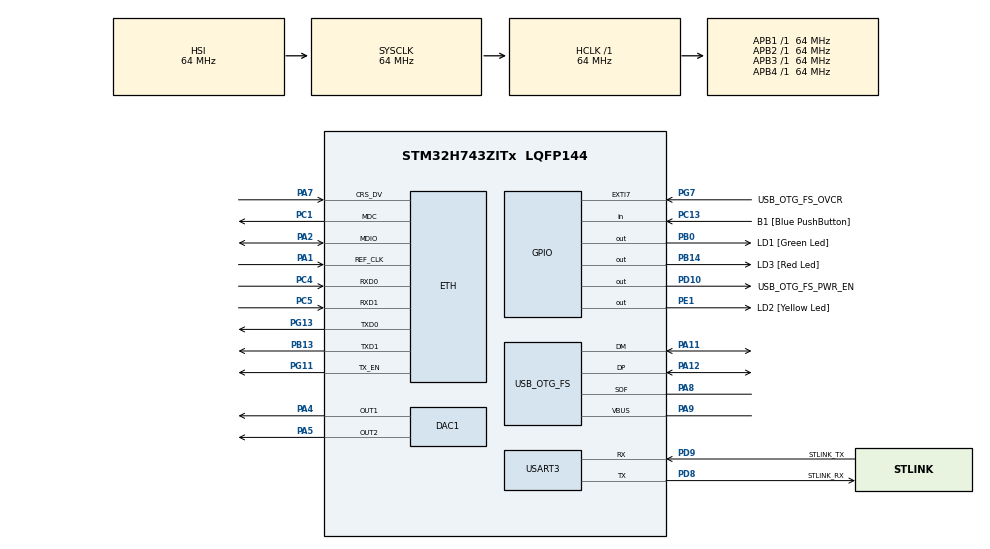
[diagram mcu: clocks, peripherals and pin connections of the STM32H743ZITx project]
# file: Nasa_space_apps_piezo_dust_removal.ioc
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DAC1.DAC_Channel-DAC_OUT1=DAC_CHANNEL_1
DAC1.DAC_Channel-DAC_OUT2=DAC_CHANNEL_2
DAC1.DAC_SampleAndHold-DAC_OUT1=DAC_SAMPLEANDHOLD_DISABLE
DAC1.DAC_SampleAndHold-DAC_OUT2=DAC_SAMPLEANDHOLD_DISABLE
ETH.MediaInterface=HAL_ETH_RMII_MODE
FREERTOS.Tasks01=defaultTask,24,128,StartDefaultTask,Default,NULL,Dynamic,NULL,NULL;blinkTask,40,128,StartBlinkTask,Default,NULL,Dynamic,NULL,NULL
FREERTOS.configENABLE_FPU=1
FREERTOS.configUSE_NEWLIB_REENTRANT=1
Mcu.Family=STM32H7
Mcu.Name=STM32H743ZITx
Mcu.Package=LQFP144
NVIC.PriorityGroup=NVIC_PRIORITYGROUP_4
NVIC.TIM17_IRQn=true\:15\:0\:false\:false\:true\:false\:false\:true\:true
NVIC.TimeBase=TIM17_IRQn
NVIC.TimeBaseIP=TIM17
PA1.Mode=RMII
PA1.Signal=ETH_REF_CLK
PA11.Mode=Device_Only
PA11.Signal=USB_OTG_FS_DM
PA12.Mode=Device_Only
PA12.Signal=USB_OTG_FS_DP
PA2.Mode=RMII
PA2.Signal=ETH_MDIO
PA4.Signal=COMP_DAC11_group
PA5.Signal=COMP_DAC12_group
PA7.Mode=RMII
PA7.Signal=ETH_CRS_DV
PA8.Mode=Activate_SOF_FS
PA8.Signal=USB_OTG_FS_SOF
PA9.Mode=Activate_VBUS
PA9.Signal=USB_OTG_FS_VBUS
PB0.GPIO_Label=LD1 [Green Led]
PB0.Signal=GPIO_Output
PB13.Mode=RMII
PB13.Signal=ETH_TXD1
PB14.GPIO_Label=LD3 [Red Led]
PB14.Signal=GPIO_Output
PC1.Mode=RMII
PC1.Signal=ETH_MDC
PC13.GPIO_Label=B1 [Blue PushButton]
PC13.Signal=GPIO_Input
PC14-OSC32_IN\ (OSC32_IN).Mode=LSE-External-Oscillator
PC14-OSC32_IN\ (OSC32_IN).Signal=RCC_OSC32_IN
PC15-OSC32_OUT\ (OSC32_OUT).Mode=LSE-External-Oscillator
PC15-OSC32_OUT\ (OSC32_OUT).Signal=RCC_OSC32_OUT
PC4.Mode=RMII
PC4.Signal=ETH_RXD0
PC5.Mode=RMII
PC5.Signal=ETH_RXD1
PD10.GPIO_Label=USB_OTG_FS_PWR_EN
PD10.Signal=GPIO_Output
PD8.GPIO_Label=STLINK_RX
PD8.Mode=Asynchronous
PD8.Signal=USART3_TX
PD9.GPIO_Label=STLINK_TX
PD9.Mode=Asynchronous
PD9.Signal=USART3_RX
PE1.GPIO_Label=LD2 [Yellow Led]
PE1.Signal=GPIO_Output
PG11.Mode=RMII
PG11.Signal=ETH_TX_EN
PG13.Mode=RMII
PG13.Signal=ETH_TXD0
PG7.GPIO_Label=USB_OTG_FS_OVCR
PG7.Signal=GPXTI7
PH0-OSC_IN\ (PH0).Mode=HSE-External-Clock-Source
PH0-OSC_IN\ (PH0).Signal=RCC_OSC_IN
PH1-OSC_OUT\ (PH1).Signal=RCC_OSC_OUT
ProjectManager.HeapSize=0x200
ProjectManager.StackSize=0x400
ProjectManager.TargetToolchain=STM32CubeIDE
RCC.ADCFreq_Value=16125000
RCC.APB1Freq_Value=64000000
RCC.APB2Freq_Value=64000000
RCC.APB3Freq_Value=64000000
RCC.APB4Freq_Value=64000000
RCC.CortexFreq_Value=64000000
RCC.DIVM1=1
RCC.DIVN1=24
RCC.DIVQ1=4
RCC.HCLKFreq_Value=64000000
RCC.HSE_VALUE=8000000
RCC.PLLFRACN=0
RCC.PWR_Regulator_Voltage_Scale=PWR_REGULATOR_VOLTAGE_SCALE2
RCC.SYSCLKFreq_VALUE=64000000
RCC.USBFreq_Value=48000000
SH.COMP_DAC11_group.0=DAC1_OUT1,DAC_OUT1
SH.COMP_DAC12_group.0=DAC1_OUT2,DAC_OUT2
USART3.VirtualMode-Asynchronous=VM_ASYNC
USB_OTG_FS.VirtualMode=Device_Only
VP_FREERTOS_VS_CMSIS_V2.Mode=CMSIS_V2
VP_MEMORYMAP_VS_MEMORYMAP.Mode=CurAppReg
VP_SYS_VS_tim17.Mode=TIM17
board=NUCLEO-H743ZI2

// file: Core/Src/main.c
/* USER CODE BEGIN Header */
/**
  ******************************************************************************
  * @file           : main.c
  * @brief          : Main program body
  ******************************************************************************
  * @attention
  *
  * Copyright (c) 2024 STMicroelectronics.
  * All rights reserved.
  *
  * This software is licensed under terms that can be found in the LICENSE file
  * in the root directory of this software component.
  * If no LICENSE file comes with this software, it is provided AS-IS.
  *
  ******************************************************************************
  */
/* USER CODE END Header */
#include "main.h"
#include "string.h"
#include "cmsis_os.h"

/* USER CODE BEGIN Includes */

#include "math.h"

/* USER CODE END Includes */

/* USER CODE BEGIN PD */
#define NBR_OF_SAMPLES 200
/* USER CODE END PD */

#if defined ( __ICCARM__ ) /*!< IAR Compiler */
#pragma location=0x30000000
ETH_DMADescTypeDef  DMARxDscrTab[ETH_RX_DESC_CNT]; /* Ethernet Rx DMA Descriptors */
#pragma location=0x30000080
ETH_DMADescTypeDef  DMATxDscrTab[ETH_TX_DESC_CNT]; /* Ethernet Tx DMA Descriptors */

#elif defined ( __CC_ARM )  /* MDK ARM Compiler */

__attribute__((at(0x30000000))) ETH_DMADescTypeDef  DMARxDscrTab[ETH_RX_DESC_CNT]; /* Ethernet Rx DMA Descriptors */
__attribute__((at(0x30000080))) ETH_DMADescTypeDef  DMATxDscrTab[ETH_TX_DESC_CNT]; /* Ethernet Tx DMA Descriptors */

#elif defined ( __GNUC__ ) /* GNU Compiler */

ETH_DMADescTypeDef DMARxDscrTab[ETH_RX_DESC_CNT] __attribute__((section(".RxDecripSection"))); /* Ethernet Rx DMA Descriptors */
ETH_DMADescTypeDef DMATxDscrTab[ETH_TX_DESC_CNT] __attribute__((section(".TxDecripSection")));   /* Ethernet Tx DMA Descriptors */
#endif

ETH_TxPacketConfig TxConfig;

DAC_HandleTypeDef hdac1;

ETH_HandleTypeDef heth;

UART_HandleTypeDef huart3;

PCD_HandleTypeDef hpcd_USB_OTG_FS;

/* Definitions for defaultTask */
osThreadId_t defaultTaskHandle;
const osThreadAttr_t defaultTask_attributes = {
  .name = "defaultTask",
  .stack_size = 128 * 4,
  .priority = (osPriority_t) osPriorityNormal,
};
/* Definitions for blinkTask */
osThreadId_t blinkTaskHandle;
const osThreadAttr_t blinkTask_attributes = {
  .name = "blinkTask",
  .stack_size = 128 * 4,
  .priority = (osPriority_t) osPriorityHigh,
};

void SystemClock_Config(void);
static void MX_GPIO_Init(void);
static void MX_ETH_Init(void);
static void MX_USART3_UART_Init(void);
static void MX_USB_OTG_FS_PCD_Init(void);
static void MX_DAC1_Init(void);
void StartDefaultTask(void *argument);
void StartBlinkTask(void *argument);

int main(void)
{

  /* MCU Configuration--------------------------------------------------------*/

  /* Reset of all peripherals, Initializes the Flash interface and the Systick. */
  HAL_Init();

  /* Configure the system clock */
  SystemClock_Config();

  /* Initialize all configured peripherals */
  MX_GPIO_Init();
  MX_ETH_Init();
  MX_USART3_UART_Init();
  MX_USB_OTG_FS_PCD_Init();
  MX_DAC1_Init();

  /* Init scheduler */
  osKernelInitialize();

  /* Create the thread(s) */
  /* creation of defaultTask */
  defaultTaskHandle = osThreadNew(StartDefaultTask, NULL, &defaultTask_attributes);

  /* creation of blinkTask */
  blinkTaskHandle = osThreadNew(StartBlinkTask, NULL, &blinkTask_attributes);

  /* Start scheduler */
  osKernelStart();

  /* We should never get here as control is now taken by the scheduler */

  /* Infinite loop */
  while (1)
  {

  }
}

void SystemClock_Config(void)
{
  RCC_OscInitTypeDef RCC_OscInitStruct = {0};
  RCC_ClkInitTypeDef RCC_ClkInitStruct = {0};

  /** Supply configuration update enable
  */
  HAL_PWREx_ConfigSupply(PWR_LDO_SUPPLY);

  /** Configure the main internal regulator output voltage
  */
  __HAL_PWR_VOLTAGESCALING_CONFIG(PWR_REGULATOR_VOLTAGE_SCALE2);

  while(!__HAL_PWR_GET_FLAG(PWR_FLAG_VOSRDY)) {}

  /** Initializes the RCC Oscillators according to the specified parameters
  * in the RCC_OscInitTypeDef structure.
  */
  RCC_OscInitStruct.OscillatorType = RCC_OSCILLATORTYPE_HSI|RCC_OSCILLATORTYPE_HSE;
  RCC_OscInitStruct.HSEState = RCC_HSE_BYPASS;
  RCC_OscInitStruct.HSIState = RCC_HSI_DIV1;
  RCC_OscInitStruct.HSICalibrationValue = RCC_HSICALIBRATION_DEFAULT;
  RCC_OscInitStruct.PLL.PLLState = RCC_PLL_ON;
  RCC_OscInitStruct.PLL.PLLSource = RCC_PLLSOURCE_HSE;
  RCC_OscInitStruct.PLL.PLLM = 1;
  RCC_OscInitStruct.PLL.PLLN = 24;
  RCC_OscInitStruct.PLL.PLLP = 2;
  RCC_OscInitStruct.PLL.PLLQ = 4;
  RCC_OscInitStruct.PLL.PLLR = 2;
  RCC_OscInitStruct.PLL.PLLRGE = RCC_PLL1VCIRANGE_3;
  RCC_OscInitStruct.PLL.PLLVCOSEL = RCC_PLL1VCOWIDE;
  RCC_OscInitStruct.PLL.PLLFRACN = 0;
  if (HAL_RCC_OscConfig(&RCC_OscInitStruct) != HAL_OK)
  {
    Error_Handler();
  }

  /** Initializes the CPU, AHB and APB buses clocks
  */
  RCC_ClkInitStruct.ClockType = RCC_CLOCKTYPE_HCLK|RCC_CLOCKTYPE_SYSCLK
                              |RCC_CLOCKTYPE_PCLK1|RCC_CLOCKTYPE_PCLK2
                              |RCC_CLOCKTYPE_D3PCLK1|RCC_CLOCKTYPE_D1PCLK1;
  RCC_ClkInitStruct.SYSCLKSource = RCC_SYSCLKSOURCE_HSI;
  RCC_ClkInitStruct.SYSCLKDivider = RCC_SYSCLK_DIV1;
  RCC_ClkInitStruct.AHBCLKDivider = RCC_HCLK_DIV1;
  RCC_ClkInitStruct.APB3CLKDivider = RCC_APB3_DIV1;
  RCC_ClkInitStruct.APB1CLKDivider = RCC_APB1_DIV1;
  RCC_ClkInitStruct.APB2CLKDivider = RCC_APB2_DIV1;
  RCC_ClkInitStruct.APB4CLKDivider = RCC_APB4_DIV1;

  if (HAL_RCC_ClockConfig(&RCC_ClkInitStruct, FLASH_LATENCY_1) != HAL_OK)
  {
    Error_Handler();
  }
}

static void MX_DAC1_Init(void)
{

  DAC_ChannelConfTypeDef sConfig = {0};

  /** DAC Initialization
  */
  hdac1.Instance = DAC1;
  if (HAL_DAC_Init(&hdac1) != HAL_OK)
  {
    Error_Handler();
  }

  /** DAC channel OUT1 config
  */
  sConfig.DAC_SampleAndHold = DAC_SAMPLEANDHOLD_DISABLE;
  sConfig.DAC_Trigger = DAC_TRIGGER_NONE;
  sConfig.DAC_OutputBuffer = DAC_OUTPUTBUFFER_ENABLE;
  sConfig.DAC_ConnectOnChipPeripheral = DAC_CHIPCONNECT_DISABLE;
  sConfig.DAC_UserTrimming = DAC_TRIMMING_FACTORY;
  if (HAL_DAC_ConfigChannel(&hdac1, &sConfig, DAC_CHANNEL_1) != HAL_OK)
  {
    Error_Handler();
  }

  /** DAC channel OUT2 config
  */
  if (HAL_DAC_ConfigChannel(&hdac1, &sConfig, DAC_CHANNEL_2) != HAL_OK)
  {
    Error_Handler();
  }

}

static void MX_ETH_Init(void)
{

   static uint8_t MACAddr[6];

  heth.Instance = ETH;
  MACAddr[0] = 0x00;
  MACAddr[1] = 0x80;
  MACAddr[2] = 0xE1;
  MACAddr[3] = 0x00;
  MACAddr[4] = 0x00;
  MACAddr[5] = 0x00;
  heth.Init.MACAddr = &MACAddr[0];
  heth.Init.MediaInterface = HAL_ETH_RMII_MODE;
  heth.Init.TxDesc = DMATxDscrTab;
  heth.Init.RxDesc = DMARxDscrTab;
  heth.Init.RxBuffLen = 1524;

  if (HAL_ETH_Init(&heth) != HAL_OK)
  {
    Error_Handler();
  }

  memset(&TxConfig, 0 , sizeof(ETH_TxPacketConfig));
  TxConfig.Attributes = ETH_TX_PACKETS_FEATURES_CSUM | ETH_TX_PACKETS_FEATURES_CRCPAD;
  TxConfig.ChecksumCtrl = ETH_CHECKSUM_IPHDR_PAYLOAD_INSERT_PHDR_CALC;
  TxConfig.CRCPadCtrl = ETH_CRC_PAD_INSERT;

}

static void MX_USART3_UART_Init(void)
{

  huart3.Instance = USART3;
  huart3.Init.BaudRate = 115200;
  huart3.Init.WordLength = UART_WORDLENGTH_8B;
  huart3.Init.StopBits = UART_STOPBITS_1;
  huart3.Init.Parity = UART_PARITY_NONE;
  huart3.Init.Mode = UART_MODE_TX_RX;
  huart3.Init.HwFlowCtl = UART_HWCONTROL_NONE;
  huart3.Init.OverSampling = UART_OVERSAMPLING_16;
  huart3.Init.OneBitSampling = UART_ONE_BIT_SAMPLE_DISABLE;
  huart3.Init.ClockPrescaler = UART_PRESCALER_DIV1;
  huart3.AdvancedInit.AdvFeatureInit = UART_ADVFEATURE_NO_INIT;
  if (HAL_UART_Init(&huart3) != HAL_OK)
  {
    Error_Handler();
  }
  if (HAL_UARTEx_SetTxFifoThreshold(&huart3, UART_TXFIFO_THRESHOLD_1_8) != HAL_OK)
  {
    Error_Handler();
  }
  if (HAL_UARTEx_SetRxFifoThreshold(&huart3, UART_RXFIFO_THRESHOLD_1_8) != HAL_OK)
  {
    Error_Handler();
  }
  if (HAL_UARTEx_DisableFifoMode(&huart3) != HAL_OK)
  {
    Error_Handler();
  }

}

static void MX_USB_OTG_FS_PCD_Init(void)
{

  hpcd_USB_OTG_FS.Instance = USB_OTG_FS;
  hpcd_USB_OTG_FS.Init.dev_endpoints = 9;
  hpcd_USB_OTG_FS.Init.speed = PCD_SPEED_FULL;
  hpcd_USB_OTG_FS.Init.dma_enable = DISABLE;
  hpcd_USB_OTG_FS.Init.phy_itface = PCD_PHY_EMBEDDED;
  hpcd_USB_OTG_FS.Init.Sof_enable = ENABLE;
  hpcd_USB_OTG_FS.Init.low_power_enable = DISABLE;
  hpcd_USB_OTG_FS.Init.lpm_enable = DISABLE;
  hpcd_USB_OTG_FS.Init.battery_charging_enable = ENABLE;
  hpcd_USB_OTG_FS.Init.vbus_sensing_enable = ENABLE;
  hpcd_USB_OTG_FS.Init.use_dedicated_ep1 = DISABLE;
  if (HAL_PCD_Init(&hpcd_USB_OTG_FS) != HAL_OK)
  {
    Error_Handler();
  }

}

static void MX_GPIO_Init(void)
{
  GPIO_InitTypeDef GPIO_InitStruct = {0};

  /* GPIO Ports Clock Enable */
  __HAL_RCC_GPIOC_CLK_ENABLE();
  __HAL_RCC_GPIOH_CLK_ENABLE();
  __HAL_RCC_GPIOA_CLK_ENABLE();
  __HAL_RCC_GPIOB_CLK_ENABLE();
  __HAL_RCC_GPIOD_CLK_ENABLE();
  __HAL_RCC_GPIOG_CLK_ENABLE();
  __HAL_RCC_GPIOE_CLK_ENABLE();

  /*Configure GPIO pin Output Level */
  HAL_GPIO_WritePin(GPIOB, LD1_Pin|LD3_Pin, GPIO_PIN_RESET);

  /*Configure GPIO pin Output Level */
  HAL_GPIO_WritePin(USB_OTG_FS_PWR_EN_GPIO_Port, USB_OTG_FS_PWR_EN_Pin, GPIO_PIN_RESET);

  /*Configure GPIO pin Output Level */
  HAL_GPIO_WritePin(LD2_GPIO_Port, LD2_Pin, GPIO_PIN_RESET);

  /*Configure GPIO pin : B1_Pin */
  GPIO_InitStruct.Pin = B1_Pin;
  GPIO_InitStruct.Mode = GPIO_MODE_INPUT;
  GPIO_InitStruct.Pull = GPIO_NOPULL;
  HAL_GPIO_Init(B1_GPIO_Port, &GPIO_InitStruct);

  /*Configure GPIO pins : LD1_Pin LD3_Pin */
  GPIO_InitStruct.Pin = LD1_Pin|LD3_Pin;
  GPIO_InitStruct.Mode = GPIO_MODE_OUTPUT_PP;
  GPIO_InitStruct.Pull = GPIO_NOPULL;
  GPIO_InitStruct.Speed = GPIO_SPEED_FREQ_LOW;
  HAL_GPIO_Init(GPIOB, &GPIO_InitStruct);

  /*Configure GPIO pin : USB_OTG_FS_PWR_EN_Pin */
  GPIO_InitStruct.Pin = USB_OTG_FS_PWR_EN_Pin;
  GPIO_InitStruct.Mode = GPIO_MODE_OUTPUT_PP;
  GPIO_InitStruct.Pull = GPIO_NOPULL;
  GPIO_InitStruct.Speed = GPIO_SPEED_FREQ_LOW;
  HAL_GPIO_Init(USB_OTG_FS_PWR_EN_GPIO_Port, &GPIO_InitStruct);

  /*Configure GPIO pin : USB_OTG_FS_OVCR_Pin */
  GPIO_InitStruct.Pin = USB_OTG_FS_OVCR_Pin;
  GPIO_InitStruct.Mode = GPIO_MODE_IT_RISING;
  GPIO_InitStruct.Pull = GPIO_NOPULL;
  HAL_GPIO_Init(USB_OTG_FS_OVCR_GPIO_Port, &GPIO_InitStruct);

  /*Configure GPIO pin : LD2_Pin */
  GPIO_InitStruct.Pin = LD2_Pin;
  GPIO_InitStruct.Mode = GPIO_MODE_OUTPUT_PP;
  GPIO_InitStruct.Pull = GPIO_NOPULL;
  GPIO_InitStruct.Speed = GPIO_SPEED_FREQ_LOW;
  HAL_GPIO_Init(LD2_GPIO_Port, &GPIO_InitStruct);

}

void StartDefaultTask(void *argument)
{
  /* USER CODE BEGIN 5 */

  HAL_DAC_SetValue(&hdac1, DAC_CHANNEL_1, DAC_ALIGN_12B_R, 0x0000);
  HAL_DAC_Start(&hdac1, DAC_CHANNEL_1);

  uint16_t buffer[NBR_OF_SAMPLES];
  uint16_t sin_amp = 0x0FFF;

  uint32_t i = 0;

  for( i = 0; i < NBR_OF_SAMPLES; i++){
	  buffer[i] = ((sin_amp + 1)/2) * sin((4 * M_PI * i)/NBR_OF_SAMPLES + 1) + (sin_amp + 1)/2;
  }

  uint32_t time = HAL_GetTick();
  uint32_t max_time = 1;

  HAL_StatusTypeDef Dac_status;

  i = 0;

  /* Infinite loop */
  for(;;)
  {
	  if((HAL_GetTick() - time) >= max_time)
	  {
		  time = HAL_GetTick();

		  Dac_status = HAL_DAC_SetValue(&hdac1, DAC_CHANNEL_1, DAC_ALIGN_12B_R, buffer[i]);

		  i++;

		  if(i >= 100)
		  {
			  i = 0;
		  }

	  }
  }
  /* USER CODE END 5 */
}

void StartBlinkTask(void *argument)
{
  /* USER CODE BEGIN StartBlinkTask */
	HAL_GPIO_WritePin(LD3_GPIO_Port, LD3_Pin, GPIO_PIN_SET);
  /* Infinite loop */
  for(;;)
  {
    osDelay(1000U);
    HAL_GPIO_TogglePin(LD3_GPIO_Port, LD3_Pin);
  }
  /* USER CODE END StartBlinkTask */
}

void HAL_TIM_PeriodElapsedCallback(TIM_HandleTypeDef *htim)
{
  if (htim->Instance == TIM17) {
    HAL_IncTick();
  }
}

void Error_Handler(void)
{
  __disable_irq();
  while (1)
  {
  }
}
